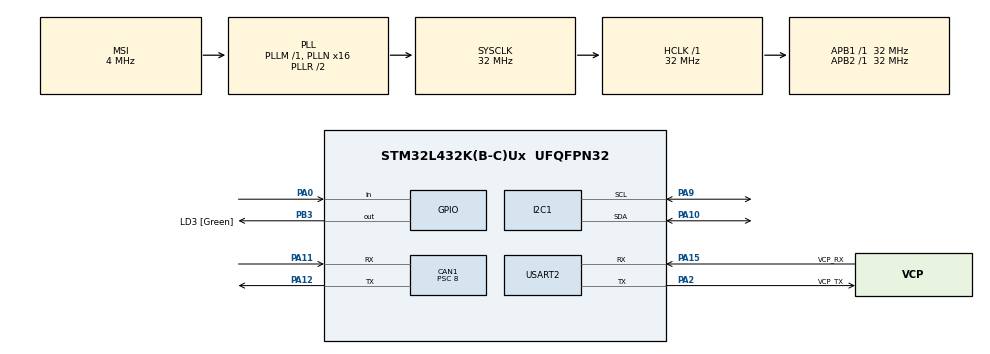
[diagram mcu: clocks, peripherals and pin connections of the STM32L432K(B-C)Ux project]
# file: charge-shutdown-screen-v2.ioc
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CAN1.BS1=CAN_BS1_13TQ
CAN1.BS2=CAN_BS2_2TQ
CAN1.CalculateBaudRate=250000
CAN1.CalculateTimeBit=4000
CAN1.CalculateTimeQuantum=250.0
CAN1.NART=ENABLE
CAN1.Prescaler=8
I2C1.Timing=0x00B07CB4
Mcu.Family=STM32L4
Mcu.Name=STM32L432K(B-C)Ux
Mcu.Package=UFQFPN32
NVIC.CAN1_RX0_IRQn=true\:0\:0\:false\:false\:true\:true\:true\:true
NVIC.PriorityGroup=NVIC_PRIORITYGROUP_4
PA0.Signal=GPIO_Input
PA10.Mode=I2C
PA10.Signal=I2C1_SDA
PA11.GPIO_PuPd=GPIO_PULLUP
PA11.Mode=CAN_Activate
PA11.Signal=CAN1_RX
PA12.Mode=CAN_Activate
PA12.Signal=CAN1_TX
PA13\ (JTMS-SWDIO).GPIO_Label=SWDIO
PA13\ (JTMS-SWDIO).Mode=Serial_Wire
PA13\ (JTMS-SWDIO).Signal=SYS_JTMS-SWDIO
PA14\ (JTCK-SWCLK).GPIO_Label=SWCLK
PA14\ (JTCK-SWCLK).Mode=Serial_Wire
PA14\ (JTCK-SWCLK).Signal=SYS_JTCK-SWCLK
PA15\ (JTDI).GPIO_Label=VCP_RX
PA15\ (JTDI).Mode=Asynchronous
PA15\ (JTDI).Signal=USART2_RX
PA2.GPIO_Label=VCP_TX
PA2.Mode=Asynchronous
PA2.Signal=USART2_TX
PA9.Mode=I2C
PA9.Signal=I2C1_SCL
PB3\ (JTDO-TRACESWO).GPIO_Label=LD3 [Green]
PB3\ (JTDO-TRACESWO).Signal=GPIO_Output
PC14-OSC32_IN\ (PC14).Mode=LSE-External-Oscillator
PC14-OSC32_IN\ (PC14).Signal=RCC_OSC32_IN
PC15-OSC32_OUT\ (PC15).Mode=LSE-External-Oscillator
PC15-OSC32_OUT\ (PC15).Signal=RCC_OSC32_OUT
ProjectManager.HeapSize=0x200
ProjectManager.StackSize=0x400
ProjectManager.TargetToolchain=STM32CubeIDE
RCC.AHBFreq_Value=32000000
RCC.APB1Freq_Value=32000000
RCC.APB1TimFreq_Value=32000000
RCC.APB2Freq_Value=32000000
RCC.APB2TimFreq_Value=32000000
RCC.CortexFreq_Value=32000000
RCC.HCLKFreq_Value=32000000
RCC.HSE_VALUE=8000000
RCC.HSI16_VALUE=16000000
RCC.HSI48_VALUE=48000000
RCC.HSI_VALUE=16000000
RCC.MSI_VALUE=4000000
RCC.PLLMUL=RCC_PLLMUL_4
RCC.PLLN=16
RCC.SYSCLKFreq_VALUE=32000000
RCC.SYSCLKSource=RCC_SYSCLKSOURCE_PLLCLK
RCC.VCOOutputFreq_Value=64000000
USART2.VirtualMode-Asynchronous=VM_ASYNC
board=NUCLEO-L432KC

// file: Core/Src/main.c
/* USER CODE BEGIN Header */
/**
 ******************************************************************************
 * @file           : main.c
 * @brief          : Main program body
 ******************************************************************************
 * @attention
 *
 * Copyright (c) 2026 STMicroelectronics.
 * All rights reserved.
 *
 * This software is licensed under terms that can be found in the LICENSE file
 * in the root directory of this software component.
 * If no LICENSE file comes with this software, it is provided AS-IS.
 *
 ******************************************************************************
 */
/* USER CODE END Header */
#include "main.h"
#include "can.h"
#include "gpio.h"
#include "i2c.h"
#include "usart.h"

/* USER CODE BEGIN Includes */
#include "bms_data.h"
#include "lcd.h"
#include <string.h>
/* USER CODE END Includes */

/* USER CODE BEGIN PV */

uint8_t can_message_count = 0;

uint8_t i2c_found_addr = 0;
uint8_t i2c_device_count = 0;
HAL_StatusTypeDef lcd_init_status;

VOLTAGE_DF latest_voltages;
TEMP_DF latest_temps;
SOC_CURR_PACK_DF latest_pack_data;

/* CAN Rx Buffers */
CAN_RxHeaderTypeDef RxHeader;
uint8_t RxData[8];

CAN_TxHeaderTypeDef TxHeader;
uint8_t TxData[8];
uint32_t TxMailbox;

/* USER CODE END PV */

void SystemClock_Config(void);

/* USER CODE BEGIN 0 */

void HAL_CAN_RxFifo0MsgPendingCallback(CAN_HandleTypeDef *hcan) {
  if (HAL_CAN_GetRxMessage(hcan, CAN_RX_FIFO0, &RxHeader, RxData) != HAL_OK) {
    return;
  }

  bms_data.can_rx_count++;

  switch (RxHeader.StdId) {
  case 0x6B0: // SOC, Current, Pack Voltage
    /* DBC layout (Motorola-aligned bytes):
     * bytes 0..1: Pack_Current (16 bit, signed, scale 0.1 A)
     * bytes 2..3: Pack_Summed_Voltage (16 bit, unsigned, scale 0.1 V)
     * byte  4:    Pack_SOC (8 bit, unsigned, scale 0.5 %)
     * remaining: various 1-bit flags / CRC we ignore here
     *
     * Convert to in-code units:
     *  - pack_current stored as A * 10  => raw_signed (because raw*0.1*10 ==
     * raw)
     *  - pack_voltage stored as V * 10  => raw_unsigned (raw*0.1*10 == raw)
     *  - soc stored as % * 10           => raw_soc * 5 (raw*0.5*10 == raw*5)
     */
    {
      int16_t raw_curr = (int16_t)((RxData[0] << 8) | RxData[1]);
      uint16_t raw_volt = (uint16_t)((RxData[2] << 8) | RxData[3]);
      uint8_t raw_soc8 = RxData[4];

      bms_data.pack_current =
          raw_curr; /* already in tenths (raw*0.1*10 == raw) */
      bms_data.pack_voltage =
          raw_volt; /* already in tenths (raw*0.1*10 == raw) */
      bms_data.soc =
          (uint16_t)raw_soc8 * 5u; /* raw * 0.5% -> times 10 => raw*5 */
    }
    break;

  case 0x6B1: // Temperatures
    /* DBC layout (Motorola style):
     * bytes 0..1: Pack_DCL (not used here)
     * byte 2:   Pack_CCL (not used)
     * byte 3:   reserved
     * byte 4:   High_Temperature (8-bit, signed, units C)
     * byte 5:   Low_Temperature  (8-bit, signed, units C)
     * bytes 6..7: CRC / reserved
     *
     * The code expects temps in tenths of degrees (°C * 10). The DBC temps are
     * whole °C so multiply by 10. avg_temp is not provided by this DBC message,
     * compute as mean.
     */
    {
      int8_t high_c = (int8_t)RxData[4];
      int8_t low_c = (int8_t)RxData[5];

      bms_data.highest_temp = (int16_t)high_c * 10;
      bms_data.lowest_temp = (int16_t)low_c * 10;
      bms_data.avg_temp = (int16_t)(((int32_t)bms_data.highest_temp +
                                     (int32_t)bms_data.lowest_temp) /
                                    2);
    }
    break;

  case 0x6B2: // Cell Voltages
    /* DBC layout (Motorola style):
     * bytes 0..1: Low_Cell_Voltage (uint16, scale 1e-4 V)
     * bytes 2..3: High_Cell_Voltage (uint16, scale 1e-4 V)
     * remaining bytes: reserved / CRC
     *
     * The code stores cell voltages as V * 10000, which matches raw (raw * 1e-4
     * * 10000 == raw). Compute avg as mean of low/high.
     */
    {
      uint16_t raw_low = (uint16_t)((RxData[0] << 8) | RxData[1]);
      uint16_t raw_high = (uint16_t)((RxData[2] << 8) | RxData[3]);

      bms_data.lowest_cell_voltage = raw_low;
      bms_data.highest_cell_voltage = raw_high;
      bms_data.avg_cell_voltage =
          (uint16_t)(((uint32_t)raw_low + (uint32_t)raw_high) / 2);
    }
    break;
  }
}

/* USER CODE END 0 */

int main(void) {

  /* MCU Configuration--------------------------------------------------------*/

  /* Reset of all peripherals, Initializes the Flash interface and the Systick.
   */
  HAL_Init();

  /* Configure the system clock */
  SystemClock_Config();

  /* Initialize all configured peripherals */
  MX_GPIO_Init();
  MX_CAN1_Init();
  MX_I2C1_Init();
  MX_USART2_UART_Init();
  /* USER CODE BEGIN 2 */

  // CAN SETUP
  CAN_FilterTypeDef sFilterConfig;
  sFilterConfig.FilterBank = 0;
  sFilterConfig.FilterMode = CAN_FILTERMODE_IDMASK;
  sFilterConfig.FilterScale = CAN_FILTERSCALE_32BIT;
  sFilterConfig.FilterIdHigh = 0x0000;
  sFilterConfig.FilterIdLow = 0x0000;
  sFilterConfig.FilterMaskIdHigh = 0x0000;
  sFilterConfig.FilterMaskIdLow = 0x0000;
  sFilterConfig.FilterFIFOAssignment = CAN_RX_FIFO0;
  sFilterConfig.FilterActivation = ENABLE;
  HAL_CAN_ConfigFilter(&hcan1, &sFilterConfig);
  HAL_CAN_Start(&hcan1);
  HAL_CAN_ActivateNotification(&hcan1, CAN_IT_RX_FIFO0_MSG_PENDING);

  // TEST CAN TX - Commented out since this is a listen-only display
  /*
  TxHeader.IDE = CAN_ID_STD;
  TxHeader.StdId = 0xAB;
  TxHeader.RTR = CAN_RTR_DATA;
  TxHeader.DLC = 2;
  TxData[0] = 0xAA;
  TxData[1] = 0xBB;
  */

  // I2C Setup
  i2c_device_count = 0;
  i2c_found_addr = 0;
  for (uint8_t addr = 1; addr < 128; addr++) {
    if (HAL_I2C_IsDeviceReady(&hi2c1, (addr << 1), 2, 10) == HAL_OK) {
      i2c_found_addr = addr;
      i2c_device_count++;
    }
  }
  lcd_init_status = LCD_Init(&hi2c1);

  // SPLASH SCREEN
  LCD_Clear();
  LCD_SetCursor(0, 0);
  LCD_WriteString("please work");
  LCD_SetCursor(1, 0);
  LCD_WriteString("T-T");
  HAL_Delay(3000);
  LCD_Clear();

  BMS_Data_Init();
  /* USER CODE END 2 */

  /* Infinite loop */
  /* USER CODE BEGIN WHILE */
  while (1) {

    /*
    TxData[0] = can_message_count;
    if (HAL_CAN_AddTxMessage(&hcan1, &TxHeader, TxData, &TxMailbox) == HAL_OK)
    {
      can_message_count++;
    }
    */

    BMS_UpdateDisplay(&hi2c1);

    // Blink LED to indicate alive
    HAL_GPIO_TogglePin(GPIOB, GPIO_PIN_3);
    HAL_Delay(200);
    /* USER CODE END WHILE */

  }
}

void SystemClock_Config(void) {
  RCC_OscInitTypeDef RCC_OscInitStruct = {0};
  RCC_ClkInitTypeDef RCC_ClkInitStruct = {0};

  /** Configure the main internal regulator output voltage
   */
  if (HAL_PWREx_ControlVoltageScaling(PWR_REGULATOR_VOLTAGE_SCALE1) != HAL_OK) {
    Error_Handler();
  }

  /** Configure LSE Drive Capability
   */
  HAL_PWR_EnableBkUpAccess();
  __HAL_RCC_LSEDRIVE_CONFIG(RCC_LSEDRIVE_LOW);

  /** Initializes the RCC Oscillators according to the specified parameters
   * in the RCC_OscInitTypeDef structure.
   */
  RCC_OscInitStruct.OscillatorType =
      RCC_OSCILLATORTYPE_LSE | RCC_OSCILLATORTYPE_MSI;
  RCC_OscInitStruct.LSEState = RCC_LSE_ON;
  RCC_OscInitStruct.MSIState = RCC_MSI_ON;
  RCC_OscInitStruct.MSICalibrationValue = 0;
  RCC_OscInitStruct.MSIClockRange = RCC_MSIRANGE_6;
  RCC_OscInitStruct.PLL.PLLState = RCC_PLL_ON;
  RCC_OscInitStruct.PLL.PLLSource = RCC_PLLSOURCE_MSI;
  RCC_OscInitStruct.PLL.PLLM = 1;
  RCC_OscInitStruct.PLL.PLLN = 16;
  RCC_OscInitStruct.PLL.PLLP = RCC_PLLP_DIV7;
  RCC_OscInitStruct.PLL.PLLQ = RCC_PLLQ_DIV2;
  RCC_OscInitStruct.PLL.PLLR = RCC_PLLR_DIV2;
  if (HAL_RCC_OscConfig(&RCC_OscInitStruct) != HAL_OK) {
    Error_Handler();
  }

  /** Initializes the CPU, AHB and APB buses clocks
   */
  RCC_ClkInitStruct.ClockType = RCC_CLOCKTYPE_HCLK | RCC_CLOCKTYPE_SYSCLK |
                                RCC_CLOCKTYPE_PCLK1 | RCC_CLOCKTYPE_PCLK2;
  RCC_ClkInitStruct.SYSCLKSource = RCC_SYSCLKSOURCE_PLLCLK;
  RCC_ClkInitStruct.AHBCLKDivider = RCC_SYSCLK_DIV1;
  RCC_ClkInitStruct.APB1CLKDivider = RCC_HCLK_DIV1;
  RCC_ClkInitStruct.APB2CLKDivider = RCC_HCLK_DIV1;

  if (HAL_RCC_ClockConfig(&RCC_ClkInitStruct, FLASH_LATENCY_1) != HAL_OK) {
    Error_Handler();
  }

  /** Enable MSI Auto calibration
   */
  HAL_RCCEx_EnableMSIPLLMode();
}

void Error_Handler(void) {
  __disable_irq();
  while (1) {
  }
}
#ifdef USE_FULL_ASSERT
/**
 * @brief  Reports the name of the source file and the source line number
 *         where the assert_param error has occurred.
 * @param  file: pointer to the source file name
 * @param  line: assert_param error line source number
 * @retval None
 */
void assert_failed(uint8_t *file, uint32_t line) {
  /* USER CODE BEGIN 6 */
  /* User can add his own implementation to report the file name and line
     number, ex: printf("Wrong parameters value: file %s on line %d\r\n", file,
     line) */
  /* USER CODE END 6 */
}
#endif /* USE_FULL_ASSERT */
